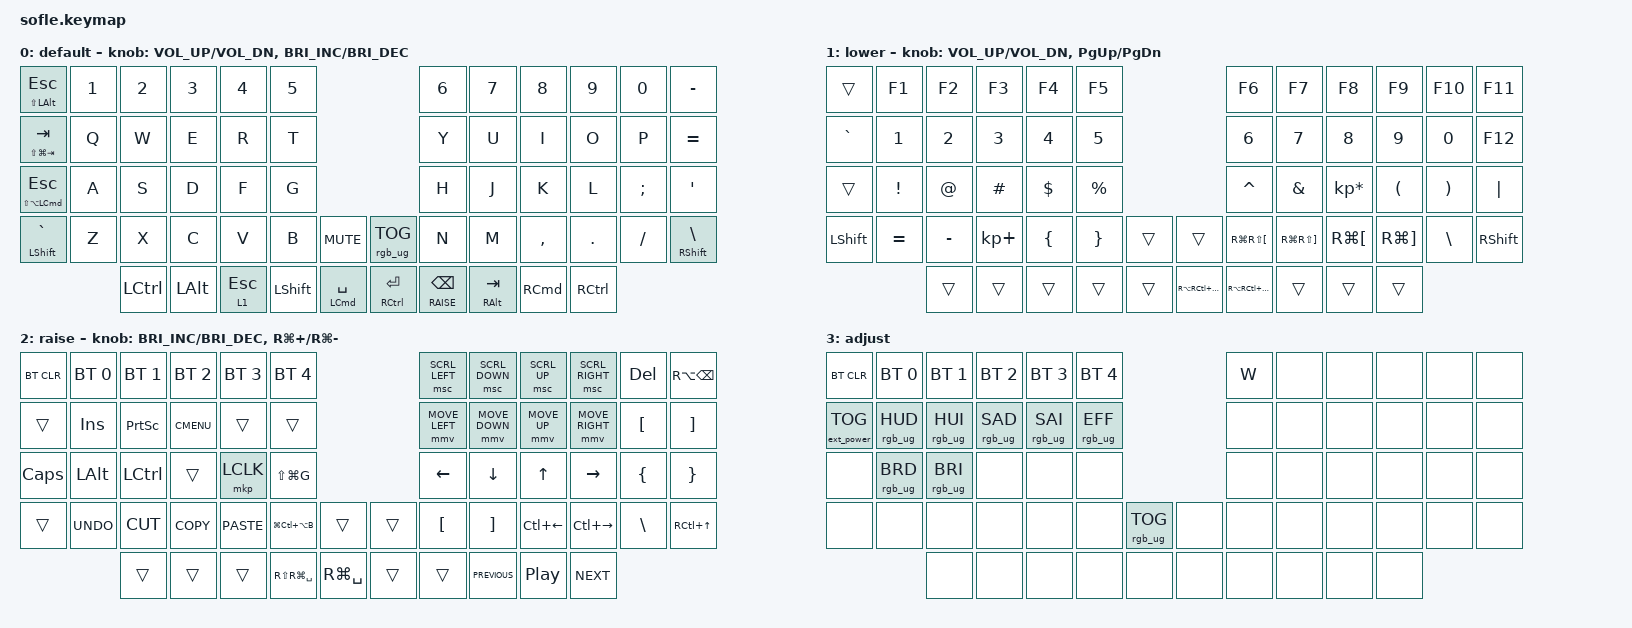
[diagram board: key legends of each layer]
/*
 * Copyright (c) 2020 The ZMK Contributors
 *
 * SPDX-License-Identifier: MIT
 */

#include <behaviors.dtsi>
#include <dt-bindings/zmk/bt.h>
#include <dt-bindings/zmk/ext_power.h>
#include <dt-bindings/zmk/keys.h>
#include <dt-bindings/zmk/pointing.h>
#include <dt-bindings/zmk/rgb.h>

#define BASE 0
#define LOWER 1
#define RAISE 2
#define ADJUST 3

&msc {
    acceleration-exponent = <5>;
    time-to-max-speed-ms = <100>;
};

/ {
    // Activate ADJUST layer by pressing raise and lower

    conditional_layers {
        compatible = "zmk,conditional-layers";

        adjust_layer {
            if-layers = <LOWER RAISE>;
            then-layer = <ADJUST>;
        };
    };

    behaviors {
        hold_tap_kp: hold_tap_kp {
            compatible = "zmk,behavior-hold-tap";
            label = "HOLD_TAP_KP";
            bindings = <&kp>, <&kp>;

            #binding-cells = <2>;
            tapping-term-ms = <160>;
            flavor = "balanced";
            quick-tap-ms = <50>;
            require-prior-idle-ms = <2>;
        };

        hold_tap_layer: hold_tap_layer {
            compatible = "zmk,behavior-hold-tap";
            label = "HOLD_TAP_LAYER";
            bindings = <&mo>, <&kp>;

            #binding-cells = <2>;
            tapping-term-ms = <180>;
        };
    };

    keymap {
        compatible = "zmk,keymap";

        default_layer {
            label = "default";

            // ------------------------------------------------------------------------------------------------------------
            // |   `   |  1  |  2  |  3   |  4   |  5   |                   |  6   |  7    |  8    |  9   |   0   |       |
            // |  ESC  |  Q  |  W  |  E   |  R   |  T   |                   |  Y   |  U    |  I    |  O   |   P   | BKSPC |
            // |  TAB  |  A  |  S  |  D   |  F   |  G   |                   |  H   |  J    |  K    |  L   |   ;   |   '   |
            // | SHIFT |  Z  |  X  |  C   |  V   |  B   |  MUTE  |  |       |  N   |  M    |  ,    |  .   |   /   | SHIFT |
            //               | GUI | ALT  | CTRL | LOWER|  ENTER |  | SPACE | RAISE| CTRL  | ALT   | GUI  |

            bindings = <
&hold_tap_kp LS(LEFT_ALT) ESC             &kp N1  &kp N2            &kp N3    &kp N4                 &kp N5                                                                               &kp N6                           &kp N7                      &kp N8             &kp N9             &kp N0    &kp MINUS
&hold_tap_kp LS(LG(TAB)) TAB              &kp Q   &kp W             &kp E     &kp R                  &kp T                                                                                &kp Y                            &kp U                       &kp I              &kp O              &kp P     &kp EQUAL
&hold_tap_kp LS(LA(LEFT_COMMAND)) ESCAPE  &kp A   &kp S             &kp D     &kp F                  &kp G                                                                                &kp H                            &kp J                       &kp K              &kp L              &kp SEMI  &kp SQT
&hold_tap_kp LEFT_SHIFT GRAVE             &kp Z   &kp X             &kp C     &kp V                  &kp B           &kp C_MUTE                         &rgb_ug RGB_TOG                   &kp N                            &kp M                       &kp COMMA          &kp DOT            &kp FSLH  &hold_tap_kp RSHFT BACKSLASH
                                                  &kp LEFT_CONTROL  &kp LALT  &hold_tap_layer 1 ESC  &kp LEFT_SHIFT  &hold_tap_kp LEFT_COMMAND SPACE    &hold_tap_kp RIGHT_CONTROL ENTER  &hold_tap_layer RAISE BACKSPACE  &hold_tap_kp RIGHT_ALT TAB  &kp RIGHT_COMMAND  &kp RIGHT_CONTROL
            >;

            sensor-bindings =
                <&inc_dec_kp C_VOL_UP C_VOL_DN>,
                <&inc_dec_kp C_BRIGHTNESS_INC C_BRIGHTNESS_DEC>;
        };

        lower_layer {
            label = "lower";

            // TODO: Some binds are waiting for shifted keycode support.
            // ------------------------------------------------------------------------------------------------------------
            // |       |  F1 |  F2 |  F3  |  F4  |  F5  |                   |  F6  |  F7   |  F8   |  F9  |  F10  |  F11  |
            // |   `   |  1  |  2  |  3   |  4   |  5   |                   |  6   |  7    |  8    |  9   |   0   |  F12  |
            // |       |  !  |  @  |  #   |  $   |  %   |                   |  ^   |  &    |  *    |  (   |   )   |   |   |
            // |       |  =  |  -  |  +   |  {   |  }   |        |  |       |  [   |  ]    |  ;    |  :   |   \   |       |
            //               |     |      |      |      |        |  |       |      |       |       |      |

            bindings = <
&trans          &kp F1     &kp F2     &kp F3       &kp F4    &kp F5                                  &kp F6             &kp F7            &kp F8                &kp F9                 &kp F10   &kp F11
&kp GRAVE       &kp N1     &kp N2     &kp N3       &kp N4    &kp N5                                  &kp N6             &kp NUMBER_7      &kp N8                &kp N9                 &kp N0    &kp F12
&trans          &kp EXCL   &kp AT     &kp HASH     &kp DLLR  &kp PRCNT                               &kp CARET          &kp AMPS          &kp KP_MULTIPLY       &kp LPAR               &kp RPAR  &kp PIPE
&kp LEFT_SHIFT  &kp EQUAL  &kp MINUS  &kp KP_PLUS  &kp LBRC  &kp RBRC   &trans    &trans             &kp RG(RS(LBKT))   &kp RG(RS(RBKT))  &kp RG(LEFT_BRACKET)  &kp RG(RIGHT_BRACKET)  &kp BSLH  &kp RIGHT_SHIFT
                           &trans     &trans       &trans    &trans     &trans    &kp RA(RC(RG(P)))  &kp RA(RC(RG(V)))  &trans            &trans                &trans
            >;

            sensor-bindings = <&inc_dec_kp C_VOL_UP C_VOL_DN &inc_dec_kp PG_UP PG_DN>;
        };

        raise_layer {
            label = "raise";

            // ------------------------------------------------------------------------------------------------------------
            // | BTCLR | BT1  | BT2  |  BT3  |  BT4  |  BT5 |                |      |      |       |      |       |       |
            // |       | INS  | PSCR | GUI   |       |      |                | PGUP |      |   ^   |      |       |       |
            // |       | ALT  | CTRL | SHIFT |       | CAPS |                | PGDN |   <- |   v   |  ->  |  DEL  | BKSPC |
            // |       | UNDO | CUT  | COPY  | PASTE |      |      |  |      |      |      |       |      |       |       |
            //                |      |       |       |      |      |  |      |      |      |       |      |

            bindings = <
&bt BT_CLR    &bt BT_SEL 0  &bt BT_SEL 1  &bt BT_SEL 2  &bt BT_SEL 3  &bt BT_SEL 4                                &msc SCRL_LEFT    &msc SCRL_DOWN     &msc SCRL_UP      &msc SCRL_RIGHT  &kp DELETE        &kp RA(BACKSPACE)
&trans        &kp INS       &kp PSCRN     &kp K_CMENU   &trans        &trans                                      &mmv MOVE_LEFT    &mmv MOVE_DOWN     &mmv MOVE_UP      &mmv MOVE_RIGHT  &kp LEFT_BRACKET  &kp RIGHT_BRACKET
&kp CAPSLOCK  &kp LALT      &kp LCTRL     &trans        &mkp LCLK     &kp LS(LG(G))                               &kp LEFT          &kp DOWN           &kp UP_ARROW      &kp RIGHT        &kp LEFT_BRACE    &kp RIGHT_BRACE
&trans        &kp K_UNDO    &kp K_CUT     &kp K_COPY    &kp K_PASTE   &kp LG(LC(LA(B)))  &trans           &trans  &kp LEFT_BRACKET  &kp RIGHT_BRACKET  &kp LC(LEFT)      &kp LC(RIGHT)    &kp BACKSLASH     &kp RC(UP_ARROW)
                            &trans        &trans        &trans        &kp RS(RG(SPACE))  &kp RG(SPACE)    &trans  &trans            &kp C_PREVIOUS     &kp C_PLAY_PAUSE  &kp C_NEXT
            >;

            sensor-bindings =
                <&inc_dec_kp C_BRIGHTNESS_INC C_BRIGHTNESS_DEC>,
                <&inc_dec_kp RG(PLUS) RG(MINUS)>;
        };

        adjust_layer {
            // ----------------------------------------------------------------------------------------------------------------------------
            // | BTCLR  |  BT1    |  BT2    |   BT3   |   BT4   |   BT5   |                  |      |      |       |      |       |       |
            // | EXTPWR | RGB_HUD | RGB_HUI | RGB_SAD | RGB_SAI | RGB_EFF |                  |      |      |       |      |       |       |
            // |        | RGB_BRD | RGB_BRI |         |         |         |                  |      |      |       |      |       |       |
            // |        |         |         |         |         |         | RGB_TOG | |      |      |      |       |      |       |       |
            //                    |         |         |         |         |         | |      |      |      |       |      |

            label = "adjust";
            bindings = <
&bt BT_CLR         &bt BT_SEL 0     &bt BT_SEL 1     &bt BT_SEL 2     &bt BT_SEL 3     &bt BT_SEL 4                               &kp W  &none  &none  &none  &none  &none
&ext_power EP_TOG  &rgb_ug RGB_HUD  &rgb_ug RGB_HUI  &rgb_ug RGB_SAD  &rgb_ug RGB_SAI  &rgb_ug RGB_EFF                            &none  &none  &none  &none  &none  &none
&none              &rgb_ug RGB_BRD  &rgb_ug RGB_BRI  &none            &none            &none                                      &none  &none  &none  &none  &none  &none
&none              &none            &none            &none            &none            &none            &rgb_ug RGB_TOG    &none  &none  &none  &none  &none  &none  &none
                                    &none            &none            &none            &none            &none              &none  &none  &none  &none  &none
            >;
        };
    };
};
